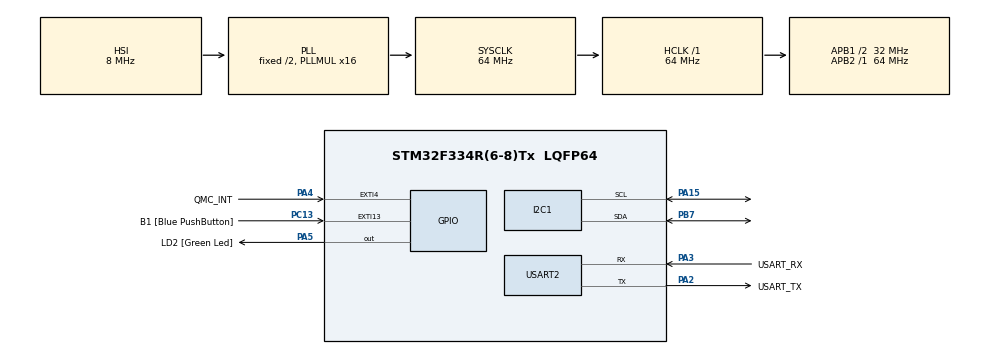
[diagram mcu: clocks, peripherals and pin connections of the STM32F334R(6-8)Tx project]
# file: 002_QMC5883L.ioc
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Mcu.Family=STM32F3
Mcu.Name=STM32F334R(6-8)Tx
Mcu.Package=LQFP64
NVIC.EXTI15_10_IRQn=true\:0\:0\:false\:false\:true\:true\:true\:true
NVIC.EXTI4_IRQn=true\:0\:0\:false\:false\:true\:true\:true\:true
NVIC.PriorityGroup=NVIC_PRIORITYGROUP_0
PA13.GPIO_Label=TMS
PA13.Mode=Serial_Wire
PA13.Signal=SYS_JTMS-SWDIO
PA14.GPIO_Label=TCK
PA14.Mode=Serial_Wire
PA14.Signal=SYS_JTCK-SWCLK
PA15.Mode=I2C
PA15.Signal=I2C1_SCL
PA2.GPIO_Label=USART_TX
PA2.Mode=Asynchronous
PA2.Signal=USART2_TX
PA3.GPIO_Label=USART_RX
PA3.Mode=Asynchronous
PA3.Signal=USART2_RX
PA4.GPIO_Label=QMC_INT
PA4.Signal=GPXTI4
PA5.GPIO_Label=LD2 [Green Led]
PA5.Signal=GPIO_Output
PB3.GPIO_Label=SWO
PB3.Signal=SYS_JTDO-TRACESWO
PB7.Mode=I2C
PB7.Signal=I2C1_SDA
PC13.GPIO_Label=B1 [Blue PushButton]
PC13.GPIO_ModeDefaultEXTI=GPIO_MODE_IT_FALLING
PC13.Signal=GPXTI13
PC14\ /\ OSC32_IN.Mode=LSE-External-Oscillator
PC14\ /\ OSC32_IN.Signal=RCC_OSC32_IN
PC15\ /\ OSC32_OUT.GPIO_Label=RCC_OSC32_OUT
PC15\ /\ OSC32_OUT.Mode=LSE-External-Oscillator
PC15\ /\ OSC32_OUT.Signal=RCC_OSC32_OUT
PF0\ /\ OSC_IN.Mode=HSE-External-Clock-Source
PF0\ /\ OSC_IN.Signal=RCC_OSC_IN
PF1\ /\ OSC_OUT.Signal=RCC_OSC_OUT
ProjectManager.HeapSize=0x200
ProjectManager.StackSize=0x400
ProjectManager.TargetToolchain=STM32CubeIDE
RCC.AHBFreq_Value=64000000
RCC.APB1CLKDivider=RCC_HCLK_DIV2
RCC.APB1Freq_Value=32000000
RCC.APB1TimFreq_Value=64000000
RCC.APB2Freq_Value=64000000
RCC.APB2TimFreq_Value=64000000
RCC.CortexFreq_Value=64000000
RCC.FLatency-AdvancedSettings=FLASH_LATENCY_2
RCC.HCLKFreq_Value=64000000
RCC.HSE_VALUE=8000000
RCC.HSI_VALUE=8000000
RCC.PLLMUL=RCC_PLL_MUL16
RCC.SYSCLKFreq_VALUE=64000000
RCC.SYSCLKSourceVirtual=RCC_SYSCLKSOURCE_PLLCLK
USART2.VirtualMode-Asynchronous=VM_ASYNC
board=NUCLEO-F334R8

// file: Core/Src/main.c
/* USER CODE BEGIN Header */
/**
  ******************************************************************************
  * @file           : main.c
  * @brief          : Main program body
  ******************************************************************************
  * @attention
  *
  * Copyright (c) 2024 STMicroelectronics.
  * All rights reserved.
  *
  * This software is licensed under terms that can be found in the LICENSE file
  * in the root directory of this software component.
  * If no LICENSE file comes with this software, it is provided AS-IS.
  *
  ******************************************************************************
  */
/* USER CODE END Header */
#include "main.h"

/* USER CODE BEGIN Includes */

#include "../../QMC/Kalman/fixed_test1.h"
#include "../../QMC/Kalman/kalman_filter.h"
#include "../../QMC/QMC5883/qmc5883.h"

/* USER CODE END Includes */

I2C_HandleTypeDef hi2c1;

UART_HandleTypeDef huart2;

/* USER CODE BEGIN PV */

Qmc hqmc;		//!< QMC5883 global variable
float azimuthAngle;

/* USER CODE END PV */

void SystemClock_Config(void);
static void MX_GPIO_Init(void);
static void MX_USART2_UART_Init(void);
static void MX_I2C1_Init(void);
/* USER CODE BEGIN PFP */
static void qmcInit(I2C_HandleTypeDef *hi2c);
/* USER CODE END PFP */

int main(void)
{

  /* MCU Configuration--------------------------------------------------------*/

  /* Reset of all peripherals, Initializes the Flash interface and the Systick. */
  HAL_Init();

  /* Configure the system clock */
  SystemClock_Config();

  /* Initialize all configured peripherals */
  MX_GPIO_Init();
  MX_USART2_UART_Init();
  MX_I2C1_Init();
  /* USER CODE BEGIN 2 */

  qmcInit(&hi2c1);

#if 0	// read data in interupt mode
  	  	// read azimuth in interrupt mode
  	    // call HAL_GPIO_EXTI_Callback
  QMC_interruptEnable(&hqmc);
#endif
  /* USER CODE END 2 */

  /* Infinite loop */
  while (1)
  {

    /* USER CODE BEGIN 3 */

#if 0		//get x,y,z, Temperature adc values polling mode
	  if(QMC_isDataReady(&hqmc))
	  {
		  QMC_readData(&hqmc);

		  int16_t xAdc = hqmc.xPosition;
		  int16_t yAdc = hqmc.yPosition;
		  int16_t zAdc = hqmc.zPosition;
	  }
#endif

#if 1		//get azimuth angle 0-360 degree pollin mode
	  if(QMC_isDataReady(&hqmc))
	  {
		  azimuthAngle = QMC_getAzimuth(&hqmc);
	  }
#endif

	  HAL_Delay(200);
  }
  /* USER CODE END 3 */
}

void SystemClock_Config(void)
{
  RCC_OscInitTypeDef RCC_OscInitStruct = {0};
  RCC_ClkInitTypeDef RCC_ClkInitStruct = {0};
  RCC_PeriphCLKInitTypeDef PeriphClkInit = {0};

  /** Initializes the RCC Oscillators according to the specified parameters
  * in the RCC_OscInitTypeDef structure.
  */
  RCC_OscInitStruct.OscillatorType = RCC_OSCILLATORTYPE_HSI;
  RCC_OscInitStruct.HSIState = RCC_HSI_ON;
  RCC_OscInitStruct.HSICalibrationValue = RCC_HSICALIBRATION_DEFAULT;
  RCC_OscInitStruct.PLL.PLLState = RCC_PLL_ON;
  RCC_OscInitStruct.PLL.PLLSource = RCC_PLLSOURCE_HSI;
  RCC_OscInitStruct.PLL.PLLMUL = RCC_PLL_MUL16;
  if (HAL_RCC_OscConfig(&RCC_OscInitStruct) != HAL_OK)
  {
    Error_Handler();
  }

  /** Initializes the CPU, AHB and APB buses clocks
  */
  RCC_ClkInitStruct.ClockType = RCC_CLOCKTYPE_HCLK|RCC_CLOCKTYPE_SYSCLK
                              |RCC_CLOCKTYPE_PCLK1|RCC_CLOCKTYPE_PCLK2;
  RCC_ClkInitStruct.SYSCLKSource = RCC_SYSCLKSOURCE_PLLCLK;
  RCC_ClkInitStruct.AHBCLKDivider = RCC_SYSCLK_DIV1;
  RCC_ClkInitStruct.APB1CLKDivider = RCC_HCLK_DIV2;
  RCC_ClkInitStruct.APB2CLKDivider = RCC_HCLK_DIV1;

  if (HAL_RCC_ClockConfig(&RCC_ClkInitStruct, FLASH_LATENCY_2) != HAL_OK)
  {
    Error_Handler();
  }
  PeriphClkInit.PeriphClockSelection = RCC_PERIPHCLK_I2C1;
  PeriphClkInit.I2c1ClockSelection = RCC_I2C1CLKSOURCE_HSI;
  if (HAL_RCCEx_PeriphCLKConfig(&PeriphClkInit) != HAL_OK)
  {
    Error_Handler();
  }
}

static void MX_I2C1_Init(void)
{

  hi2c1.Instance = I2C1;
  hi2c1.Init.Timing = 0x2000090E;
  hi2c1.Init.OwnAddress1 = 0;
  hi2c1.Init.AddressingMode = I2C_ADDRESSINGMODE_7BIT;
  hi2c1.Init.DualAddressMode = I2C_DUALADDRESS_DISABLE;
  hi2c1.Init.OwnAddress2 = 0;
  hi2c1.Init.OwnAddress2Masks = I2C_OA2_NOMASK;
  hi2c1.Init.GeneralCallMode = I2C_GENERALCALL_DISABLE;
  hi2c1.Init.NoStretchMode = I2C_NOSTRETCH_DISABLE;
  if (HAL_I2C_Init(&hi2c1) != HAL_OK)
  {
    Error_Handler();
  }

  /** Configure Analogue filter
  */
  if (HAL_I2CEx_ConfigAnalogFilter(&hi2c1, I2C_ANALOGFILTER_ENABLE) != HAL_OK)
  {
    Error_Handler();
  }

  /** Configure Digital filter
  */
  if (HAL_I2CEx_ConfigDigitalFilter(&hi2c1, 0) != HAL_OK)
  {
    Error_Handler();
  }

}

static void MX_USART2_UART_Init(void)
{

  huart2.Instance = USART2;
  huart2.Init.BaudRate = 38400;
  huart2.Init.WordLength = UART_WORDLENGTH_8B;
  huart2.Init.StopBits = UART_STOPBITS_1;
  huart2.Init.Parity = UART_PARITY_NONE;
  huart2.Init.Mode = UART_MODE_TX_RX;
  huart2.Init.HwFlowCtl = UART_HWCONTROL_NONE;
  huart2.Init.OverSampling = UART_OVERSAMPLING_16;
  huart2.Init.OneBitSampling = UART_ONE_BIT_SAMPLE_DISABLE;
  huart2.AdvancedInit.AdvFeatureInit = UART_ADVFEATURE_NO_INIT;
  if (HAL_UART_Init(&huart2) != HAL_OK)
  {
    Error_Handler();
  }

}

static void MX_GPIO_Init(void)
{
  GPIO_InitTypeDef GPIO_InitStruct = {0};

  /* GPIO Ports Clock Enable */
  __HAL_RCC_GPIOC_CLK_ENABLE();
  __HAL_RCC_GPIOF_CLK_ENABLE();
  __HAL_RCC_GPIOA_CLK_ENABLE();
  __HAL_RCC_GPIOB_CLK_ENABLE();

  /*Configure GPIO pin Output Level */
  HAL_GPIO_WritePin(LD2_GPIO_Port, LD2_Pin, GPIO_PIN_RESET);

  /*Configure GPIO pin : B1_Pin */
  GPIO_InitStruct.Pin = B1_Pin;
  GPIO_InitStruct.Mode = GPIO_MODE_IT_FALLING;
  GPIO_InitStruct.Pull = GPIO_NOPULL;
  HAL_GPIO_Init(B1_GPIO_Port, &GPIO_InitStruct);

  /*Configure GPIO pin : QMC_INT_Pin */
  GPIO_InitStruct.Pin = QMC_INT_Pin;
  GPIO_InitStruct.Mode = GPIO_MODE_IT_RISING;
  GPIO_InitStruct.Pull = GPIO_NOPULL;
  HAL_GPIO_Init(QMC_INT_GPIO_Port, &GPIO_InitStruct);

  /*Configure GPIO pin : LD2_Pin */
  GPIO_InitStruct.Pin = LD2_Pin;
  GPIO_InitStruct.Mode = GPIO_MODE_OUTPUT_PP;
  GPIO_InitStruct.Pull = GPIO_NOPULL;
  GPIO_InitStruct.Speed = GPIO_SPEED_FREQ_LOW;
  HAL_GPIO_Init(LD2_GPIO_Port, &GPIO_InitStruct);

  /* EXTI interrupt init*/
  HAL_NVIC_SetPriority(EXTI4_IRQn, 0, 0);
  HAL_NVIC_EnableIRQ(EXTI4_IRQn);

  HAL_NVIC_SetPriority(EXTI15_10_IRQn, 0, 0);
  HAL_NVIC_EnableIRQ(EXTI15_10_IRQn);

}

/* USER CODE BEGIN 4 */

static void qmcInit(I2C_HandleTypeDef *hi2c)
{
	hqmc.qmcConfig.MODE = MODE_CONTINIOUS;
	hqmc.qmcConfig.ODR = ODR_200HZ;
	hqmc.qmcConfig.OSR = OSR_512;
	hqmc.qmcConfig.RNG = RNG_8G;
	hqmc.qmcConfig.INT = INT_DISABLE;
	hqmc.qmcConfig.ROL_PNT = ROL_PNT_ENABLE;

	if(QMC_qmcInit(hi2c, &hqmc) != HAL_OK)
	{
		Error_Handler();
	}

	//magnetic declination of my city
	//you can learn https://www.magnetic-declination.com/
	QMC_setMagneticDelination(6, 13);
}

void HAL_GPIO_EXTI_Callback(uint16_t GPIO_Pin)
{
	if(GPIO_Pin == QMC_INT_Pin)
	{
		QMC_readData(&hqmc);
		// or can read azimuth by committing QMC_read
//		QMC_getAzimuth(&hqmc);
	}
}

/* USER CODE END 4 */

void Error_Handler(void)
{
  __disable_irq();
  while (1)
  {
  }
}
